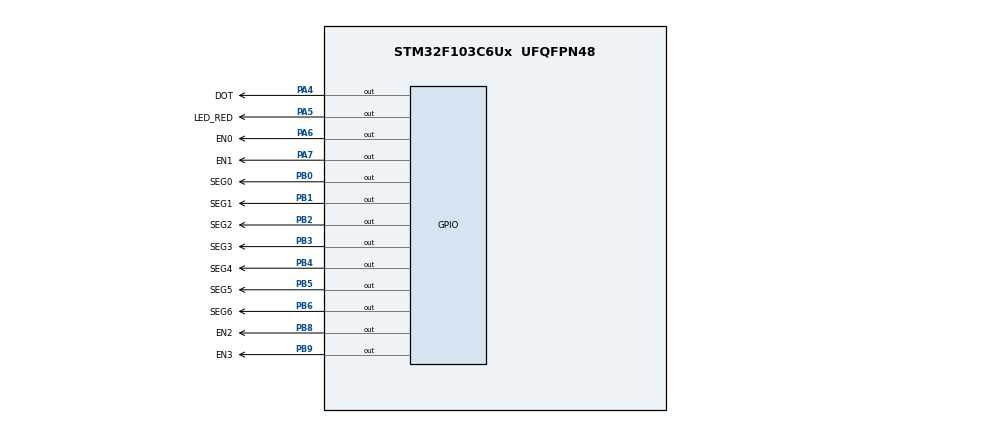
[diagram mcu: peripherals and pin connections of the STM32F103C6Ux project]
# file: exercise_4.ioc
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Mcu.Family=STM32F1
Mcu.Name=STM32F103C6Ux
Mcu.Package=UFQFPN48
NVIC.PriorityGroup=NVIC_PRIORITYGROUP_4
NVIC.TIM2_IRQn=true\:0\:0\:false\:false\:true\:true\:true
PA4.GPIO_Label=DOT
PA4.Signal=GPIO_Output
PA5.GPIO_Label=LED_RED
PA5.Signal=GPIO_Output
PA6.GPIO_Label=EN0
PA6.Signal=GPIO_Output
PA7.GPIO_Label=EN1
PA7.Signal=GPIO_Output
PB0.GPIO_Label=SEG0
PB0.Signal=GPIO_Output
PB1.GPIO_Label=SEG1
PB1.Signal=GPIO_Output
PB2.GPIO_Label=SEG2
PB2.Signal=GPIO_Output
PB3.GPIO_Label=SEG3
PB3.Signal=GPIO_Output
PB4.GPIO_Label=SEG4
PB4.Signal=GPIO_Output
PB5.GPIO_Label=SEG5
PB5.Signal=GPIO_Output
PB6.GPIO_Label=SEG6
PB6.Signal=GPIO_Output
PB8.GPIO_Label=EN2
PB8.Signal=GPIO_Output
PB9.GPIO_Label=EN3
PB9.Signal=GPIO_Output
ProjectManager.HeapSize=0x200
ProjectManager.StackSize=0x400
ProjectManager.TargetToolchain=STM32CubeIDE
RCC.APB1Freq_Value=8000000
RCC.APB2Freq_Value=8000000
TIM2.Period=9
TIM2.Prescaler=7999
VP_SYS_VS_ND.Mode=No_Debug
VP_TIM2_VS_ClockSourceINT.Mode=Internal
board=custom

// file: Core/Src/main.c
/* USER CODE BEGIN Header */
/**
  ******************************************************************************
  * @file           : main.c
  * @brief          : Main program body
  ******************************************************************************
  * @attention
  *
  * <h2><center>&copy; Copyright (c) 2025 STMicroelectronics.
  * All rights reserved.</center></h2>
  *
  * This software component is licensed by ST under BSD 3-Clause license,
  * the "License"; You may not use this file except in compliance with the
  * License. You may obtain a copy of the License at:
  *                        opensource.org/licenses/BSD-3-Clause
  *
  ******************************************************************************
  */
/* USER CODE END Header */
#include "main.h"

/* USER CODE BEGIN Includes */
#include "software_timer.h"
/* USER CODE END Includes */

TIM_HandleTypeDef htim2;

/* USER CODE BEGIN PV */
uint8_t led7seg_num_display[] = {
		/*0*/ 0x40,/*0b1000000*/
		/*1*/ 0x79,/*0b11111001*/
		/*2*/ 0x24,/*0b0100100*/
		/*3*/ 0x30,/*0b0110000*/
		/*4*/ 0x19,/*0b0011001*/
		/*5*/ 0x12,/*0b0010010*/
		/*6*/ 0x02,/*0b0000010*/
		/*7*/ 0x78,/*0b1111000*/
		/*8*/ 0x00,/*0b0000000*/
		/*9*/ 0x10/*0b0010000*/
};
int led_index = 0;
const int MAX_LED = 4;
int led_buffer[4] = {0};
/* USER CODE END PV */

void SystemClock_Config(void);
static void MX_TIM2_Init(void);
static void MX_GPIO_Init(void);
void display7SEG(uint8_t num);
void update7SEG(uint8_t index);
void updateClockBuffer(int hour, int min);

int main(void)
{

  /* MCU Configuration--------------------------------------------------------*/

  /* Reset of all peripherals, Initializes the Flash interface and the Systick. */
  HAL_Init();

  /* Configure the system clock */
  SystemClock_Config();

  /* Initialize all configured peripherals */
  MX_TIM2_Init();
  MX_GPIO_Init();
  /* USER CODE BEGIN 2 */
  HAL_TIM_Base_Start_IT(&htim2);
  /* USER CODE END 2 */

  /* Infinite loop */
  /* USER CODE BEGIN WHILE */
  setTimer(0, 100); //LED_RED
  setTimer(1, 50); //7_SEG
  setTimer(2, 100); //2 LED
  int hour = 15, minute = 8, second = 50;
  while (1)
  {
	  if (isExpired(0) == 1){
		  setTimer(0, 100);
		  HAL_GPIO_TogglePin(LED_RED_GPIO_Port,LED_RED_Pin);
	  }
	  if (isExpired(1) == 1){
		  setTimer(1,  25);
		  led_index = (led_index + 1) % MAX_LED;
	  }
	  if (isExpired(2) == 1){
		  setTimer(2, 100);
		  HAL_GPIO_TogglePin(DOT_GPIO_Port,DOT_Pin);
		  second++;
		  if (second >= 60){
			  second = 0;
			  minute++;
		  }
		  if (minute >= 60){
			  minute = 0;
			  hour++;
		  }
		  if (hour >= 24){
			  hour = 0;
		  }
		  updateClockBuffer(hour, minute);
	  }
	  update7SEG(led_index);

    /* USER CODE END WHILE */

  }
}

void SystemClock_Config(void)
{
  RCC_OscInitTypeDef RCC_OscInitStruct = {0};
  RCC_ClkInitTypeDef RCC_ClkInitStruct = {0};

  /** Initializes the RCC Oscillators according to the specified parameters
  * in the RCC_OscInitTypeDef structure.
  */
  RCC_OscInitStruct.OscillatorType = RCC_OSCILLATORTYPE_HSI;
  RCC_OscInitStruct.HSIState = RCC_HSI_ON;
  RCC_OscInitStruct.HSICalibrationValue = RCC_HSICALIBRATION_DEFAULT;
  RCC_OscInitStruct.PLL.PLLState = RCC_PLL_NONE;
  if (HAL_RCC_OscConfig(&RCC_OscInitStruct) != HAL_OK)
  {
    Error_Handler();
  }
  /** Initializes the CPU, AHB and APB buses clocks
  */
  RCC_ClkInitStruct.ClockType = RCC_CLOCKTYPE_HCLK|RCC_CLOCKTYPE_SYSCLK
                              |RCC_CLOCKTYPE_PCLK1|RCC_CLOCKTYPE_PCLK2;
  RCC_ClkInitStruct.SYSCLKSource = RCC_SYSCLKSOURCE_HSI;
  RCC_ClkInitStruct.AHBCLKDivider = RCC_SYSCLK_DIV1;
  RCC_ClkInitStruct.APB1CLKDivider = RCC_HCLK_DIV1;
  RCC_ClkInitStruct.APB2CLKDivider = RCC_HCLK_DIV1;

  if (HAL_RCC_ClockConfig(&RCC_ClkInitStruct, FLASH_LATENCY_0) != HAL_OK)
  {
    Error_Handler();
  }
}

static void MX_TIM2_Init(void)
{

  TIM_ClockConfigTypeDef sClockSourceConfig = {0};
  TIM_MasterConfigTypeDef sMasterConfig = {0};

  htim2.Instance = TIM2;
  htim2.Init.Prescaler = 7999;
  htim2.Init.CounterMode = TIM_COUNTERMODE_UP;
  htim2.Init.Period = 9;
  htim2.Init.ClockDivision = TIM_CLOCKDIVISION_DIV1;
  htim2.Init.AutoReloadPreload = TIM_AUTORELOAD_PRELOAD_DISABLE;
  if (HAL_TIM_Base_Init(&htim2) != HAL_OK)
  {
    Error_Handler();
  }
  sClockSourceConfig.ClockSource = TIM_CLOCKSOURCE_INTERNAL;
  if (HAL_TIM_ConfigClockSource(&htim2, &sClockSourceConfig) != HAL_OK)
  {
    Error_Handler();
  }
  sMasterConfig.MasterOutputTrigger = TIM_TRGO_RESET;
  sMasterConfig.MasterSlaveMode = TIM_MASTERSLAVEMODE_DISABLE;
  if (HAL_TIMEx_MasterConfigSynchronization(&htim2, &sMasterConfig) != HAL_OK)
  {
    Error_Handler();
  }

}

static void MX_GPIO_Init(void)
{
  GPIO_InitTypeDef GPIO_InitStruct = {0};

  /* GPIO Ports Clock Enable */
  __HAL_RCC_GPIOA_CLK_ENABLE();
  __HAL_RCC_GPIOB_CLK_ENABLE();

  /*Configure GPIO pin Output Level */
  HAL_GPIO_WritePin(GPIOA, DOT_Pin|LED_RED_Pin|EN0_Pin|EN1_Pin, GPIO_PIN_RESET);

  /*Configure GPIO pin Output Level */
  HAL_GPIO_WritePin(GPIOB, SEG0_Pin|SEG1_Pin|SEG2_Pin|SEG3_Pin
                          |SEG4_Pin|SEG5_Pin|SEG6_Pin|EN2_Pin
                          |EN3_Pin, GPIO_PIN_RESET);

  /*Configure GPIO pins : DOT_Pin LED_RED_Pin EN0_Pin EN1_Pin */
  GPIO_InitStruct.Pin = DOT_Pin|LED_RED_Pin|EN0_Pin|EN1_Pin;
  GPIO_InitStruct.Mode = GPIO_MODE_OUTPUT_PP;
  GPIO_InitStruct.Pull = GPIO_NOPULL;
  GPIO_InitStruct.Speed = GPIO_SPEED_FREQ_LOW;
  HAL_GPIO_Init(GPIOA, &GPIO_InitStruct);

  /*Configure GPIO pins : SEG0_Pin SEG1_Pin SEG2_Pin SEG3_Pin
                           SEG4_Pin SEG5_Pin SEG6_Pin EN2_Pin
                           EN3_Pin */
  GPIO_InitStruct.Pin = SEG0_Pin|SEG1_Pin|SEG2_Pin|SEG3_Pin
                          |SEG4_Pin|SEG5_Pin|SEG6_Pin|EN2_Pin
                          |EN3_Pin;
  GPIO_InitStruct.Mode = GPIO_MODE_OUTPUT_PP;
  GPIO_InitStruct.Pull = GPIO_NOPULL;
  GPIO_InitStruct.Speed = GPIO_SPEED_FREQ_LOW;
  HAL_GPIO_Init(GPIOB, &GPIO_InitStruct);

}

/* USER CODE BEGIN 4 */
void HAL_TIM_PeriodElapsedCallback(TIM_HandleTypeDef *htim){
	timerRun();
}

void display7SEG(uint8_t num){
	HAL_GPIO_WritePin(SEG0_GPIO_Port, SEG0_Pin, !((~led7seg_num_display[num]) & (1 << 0)));
	HAL_GPIO_WritePin(SEG1_GPIO_Port, SEG1_Pin, !((~led7seg_num_display[num]) & (1 << 1)));
	HAL_GPIO_WritePin(SEG2_GPIO_Port, SEG2_Pin, !((~led7seg_num_display[num]) & (1 << 2)));
	HAL_GPIO_WritePin(SEG3_GPIO_Port, SEG3_Pin, !((~led7seg_num_display[num]) & (1 << 3)));
	HAL_GPIO_WritePin(SEG4_GPIO_Port, SEG4_Pin, !((~led7seg_num_display[num]) & (1 << 4)));
	HAL_GPIO_WritePin(SEG5_GPIO_Port, SEG5_Pin, !((~led7seg_num_display[num]) & (1 << 5)));
	HAL_GPIO_WritePin(SEG6_GPIO_Port, SEG6_Pin, !((~led7seg_num_display[num]) & (1 << 6)));
}

void update7SEG(uint8_t index){
	switch(index){
		case 0:
			display7SEG(led_buffer[0]);
			HAL_GPIO_WritePin(EN0_GPIO_Port, EN0_Pin, GPIO_PIN_RESET);
			HAL_GPIO_WritePin(EN1_GPIO_Port, EN1_Pin, GPIO_PIN_SET);
			HAL_GPIO_WritePin(EN2_GPIO_Port, EN2_Pin, GPIO_PIN_SET);
			HAL_GPIO_WritePin(EN3_GPIO_Port, EN3_Pin, GPIO_PIN_SET);
			break;
		case 1:
			display7SEG(led_buffer[1]);
			HAL_GPIO_WritePin(EN0_GPIO_Port, EN0_Pin, GPIO_PIN_SET);
			HAL_GPIO_WritePin(EN1_GPIO_Port, EN1_Pin, GPIO_PIN_RESET);
			HAL_GPIO_WritePin(EN2_GPIO_Port, EN2_Pin, GPIO_PIN_SET);
			HAL_GPIO_WritePin(EN3_GPIO_Port, EN3_Pin, GPIO_PIN_SET);
			break;
		case 2:
			display7SEG(led_buffer[2]);
			HAL_GPIO_WritePin(EN0_GPIO_Port, EN0_Pin, GPIO_PIN_SET);
			HAL_GPIO_WritePin(EN1_GPIO_Port, EN1_Pin, GPIO_PIN_SET);
			HAL_GPIO_WritePin(EN2_GPIO_Port, EN2_Pin, GPIO_PIN_RESET);
			HAL_GPIO_WritePin(EN3_GPIO_Port, EN3_Pin, GPIO_PIN_SET);
			break;
		case 3:
			display7SEG(led_buffer[3]);
			HAL_GPIO_WritePin(EN0_GPIO_Port, EN0_Pin, GPIO_PIN_SET);
			HAL_GPIO_WritePin(EN1_GPIO_Port, EN1_Pin, GPIO_PIN_SET);
			HAL_GPIO_WritePin(EN2_GPIO_Port, EN2_Pin, GPIO_PIN_SET);
			HAL_GPIO_WritePin(EN3_GPIO_Port, EN3_Pin, GPIO_PIN_RESET);
			break;
		default:
			break;
	}

}

void updateClockBuffer(int hour, int min){
	led_buffer[0] = hour / 10;
	led_buffer[1] = hour % 10;
	led_buffer[2] = min / 10;
	led_buffer[3] = min % 10;
}
/* USER CODE END 4 */

void Error_Handler(void)
{
  __disable_irq();
  while (1)
  {
  }
}

/************************ (C) COPYRIGHT STMicroelectronics *****END OF FILE****/
